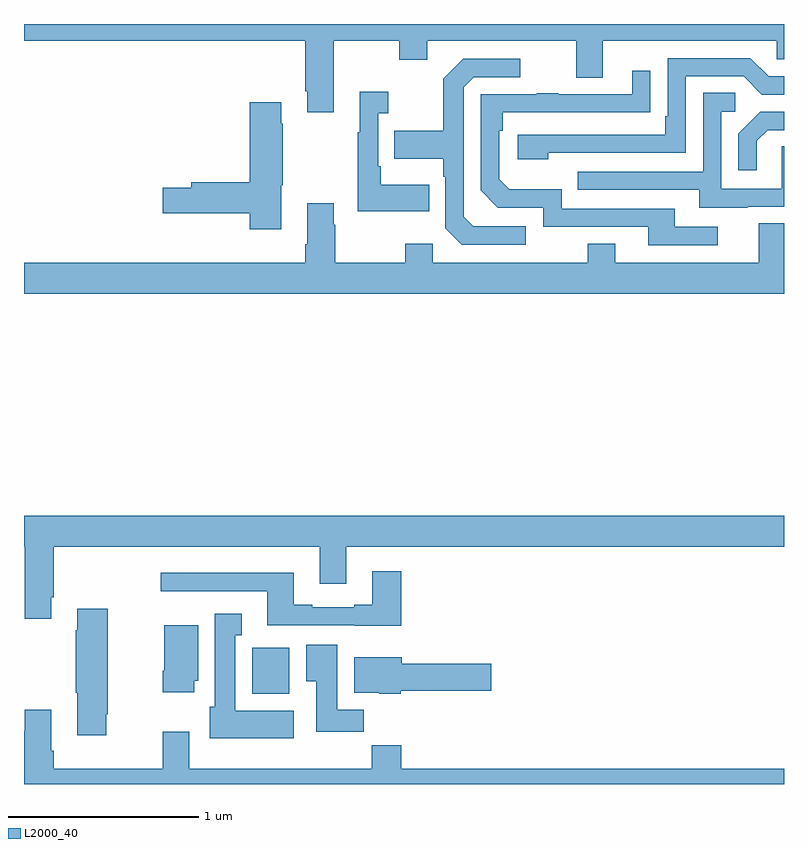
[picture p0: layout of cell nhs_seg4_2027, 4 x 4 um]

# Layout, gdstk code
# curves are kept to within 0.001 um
import gdstk
lib = gdstk.Library(unit=1e-6, precision=1e-09)
def R(c, l, rs):  # rectangles x0, y0, x1, y1
    for r in rs: c.add(gdstk.rectangle(r[:2], r[2:], *l))
def P(c, l, *ps):  # polygons
    for p in ps: c.add(gdstk.Polygon(p, *l))
L2000_40 = (2000, 40)

nhs_seg4_2027 = lib.new_cell('nhs_seg4_2027')
R(nhs_seg4_2027, L2000_40, [(216.2,801.374,216.397,801.616)])
P(nhs_seg4_2027, L2000_40, [(216.631,804.812),(216.976,804.812),(216.976,804.713),(217.123,804.713),(217.123,804.812),(217.907,804.812),(217.907,804.618),(218.047,804.618),(218.047,804.812),(218.961,804.812),(218.961,804.714),(219,804.714),(219,804.9),(215,804.9),(215,804.812),(216.479,804.812),(216.479,804.547),(216.491,804.547),(216.491,804.435),(216.631,804.435)],
  [(217.76,804.222),(218.484,804.222),(218.484,804.624),(218.787,804.624),(218.883,804.528),(219,804.528),(219,804.624),(218.919,804.624),(218.823,804.72),(218.388,804.72),(218.388,804.415),(218.375,804.415),(218.375,804.318),(217.599,804.318),(217.599,804.188),(217.76,804.188)],
  [(217.642,803.835),(217.365,803.835),(217.314,803.886),(217.314,804.567),(217.368,804.621),(217.612,804.621),(217.612,804.717),(217.311,804.717),(217.206,804.611),(217.206,804.339),(216.949,804.339),(216.949,804.191),(217.206,804.191),(217.206,804.095),(217.218,804.095),(217.218,803.826),(217.305,803.739),(217.642,803.739)],
  [(218.65,803.832),(218.425,803.832),(218.425,803.928),(217.83,803.928),(217.83,804.031),(217.553,804.031),(217.5,804.084),(217.5,804.338),(217.52,804.338),(217.52,804.435),(218.297,804.436),(218.297,804.655),(218.201,804.655),(218.201,804.531),(217.811,804.531),(217.811,804.536),(217.699,804.536),(217.699,804.531),(217.404,804.531),(217.404,804.024),(217.494,803.934),(217.734,803.934),(217.734,803.832),(218.285,803.832),(218.285,803.736),(218.65,803.736)],
  [(217.133,804.055),(216.877,804.055),(216.877,804.151),(216.864,804.151),(216.864,804.431),(216.916,804.431),(216.916,804.544),(216.767,804.544),(216.767,804.331),(216.756,804.331),(216.756,803.915),(217.133,803.915)],
  [(218.809,803.937),(219,803.937),(219,804.257),(218.988,804.257),(218.988,804.033),(218.67,804.033),(218.67,804.438),(218.743,804.438),(218.743,804.539),(218.574,804.539),(218.574,804.123),(217.915,804.123),(217.915,804.027),(218.555,804.027),(218.555,803.933),(218.809,803.933)],
  [(216.355,804.051),(216.363,804.051),(216.363,804.374),(216.355,804.374),(216.355,804.487),(216.188,804.487),(216.188,804.068),(215.879,804.068),(215.879,804.038),(215.73,804.038),(215.73,803.903),(216.188,803.903),(216.188,803.82),(216.355,803.82)],
  [(218.857,804.285),(218.914,804.342),(219,804.342),(219,804.438),(218.876,804.438),(218.76,804.322),(218.76,804.129),(218.857,804.129)],
  [(219,803.852),(218.867,803.852),(218.867,803.644),(218.113,803.644),(218.113,803.743),(217.966,803.743),(217.966,803.644),(217.152,803.644),(217.152,803.743),(217.006,803.743),(217.006,803.644),(216.639,803.644),(216.639,803.843),(216.631,803.843),(216.631,803.956),(216.491,803.956),(216.491,803.74),(216.479,803.74),(216.479,803.644),(215,803.644),(215,803.48),(219,803.48)],
  [(215.143,801.883),(215.156,801.883),(215.156,802.148),(216.557,802.148),(216.557,801.954),(216.697,801.954),(216.697,802.148),(219,802.148),(219,802.312),(215,802.312),(215,802.148),(215.003,802.148),(215.003,801.771),(215.143,801.771)],
  [(216.986,802.021),(216.833,802.021),(216.833,801.844),(216.737,801.844),(216.737,801.831),(216.517,801.831),(216.517,801.844),(216.421,801.844),(216.421,802.012),(215.721,802.012),(215.721,801.915),(216.281,801.915),(216.281,801.735),(216.741,801.735),(216.741,801.734),(216.986,801.734)],
  [(215.434,801.268),(215.442,801.268),(215.442,801.823),(215.279,801.823),(215.279,801.71),(215.272,801.71),(215.272,801.379),(215.279,801.379),(215.279,801.156),(215.434,801.156)],
  [(216.421,801.286),(216.112,801.286),(216.112,801.683),(216.145,801.683),(216.145,801.796),(216.005,801.796),(216.005,801.306),(215.978,801.306),(215.978,801.14),(216.421,801.14)],
  [(215.896,801.444),(215.917,801.444),(215.917,801.736),(215.738,801.736),(215.738,801.496),(215.731,801.496),(215.731,801.384),(215.896,801.384)],
  [(216.788,801.292),(216.649,801.292),(216.649,801.634),(216.485,801.634),(216.485,801.44),(216.539,801.44),(216.539,801.174),(216.788,801.174)],
  [(216.984,801.391),(217.459,801.391),(217.459,801.533),(216.988,801.533),(216.988,801.568),(216.737,801.568),(216.737,801.38),(216.87,801.38),(216.87,801.374),(216.984,801.374)],
  [(216.829,801.104),(216.829,800.98),(215.869,800.98),(215.869,801.175),(215.729,801.175),(215.729,800.98),(215.156,800.98),(215.156,801.076),(215.143,801.076),(215.143,801.292),(215.003,801.292),(215.003,801.179),(215,801.179),(215,800.9),(219,800.9),(219,800.98),(216.986,800.98),(216.986,801.104)])

lib.write_gds('nhs_seg4_2027.gds')
